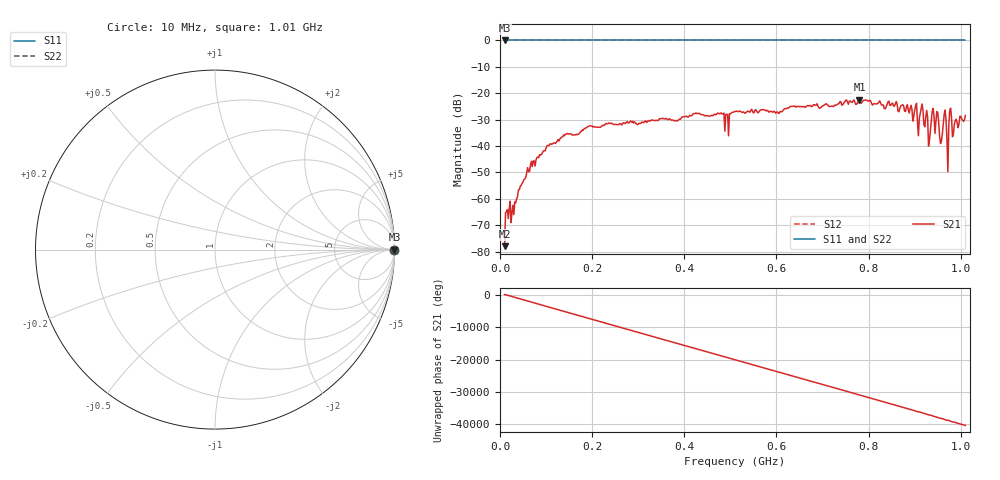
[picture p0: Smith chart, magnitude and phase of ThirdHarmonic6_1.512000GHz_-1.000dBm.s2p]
! 8/16/2025 5:48:57 PM
! C:\ANRITSUVNA\TEMP\TEMP.S2P
! CHANNEL.1
! TR.MEASUREMENT
! RAW.DATA
! RF.CORRECTION.OFF
! AVERAGING.OFF
! IF.BANDWIDTH: 5KHZ
! SWEEPTYPE:  FREQ.SWEEP(Linear)
! Reference Plane Port Info
! PORT:  PORT1  PORT2
! DISTANCE:  0  m  0  m
! TIME:  0  s  0  s
! PHASE.OFFSET:  0  deg.  0  deg.
! LOSS:  0  dB  0  dB
! REF.LOSS:  0  dB  0  dB
! REF.FREQ:  0  Hz  0  Hz
! Power Info
! POWER:  -20  dBm  -20  dBm
! EFF.POWER:  -20  dBm  -20  dBm
! SOURCE.ATTEN:  0  dB  0  dB
! TEST.ATTEN:  0  dB  0  dB
# GHZ S RI R 50.0
! FREQ.GHZ  S11RE  S11IM  S21RE  S21IM  S12RE  S12IM  S22RE  S22IM
!; PortSelection: Port_12
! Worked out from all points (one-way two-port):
!   501 points, 10 MHz to 1.01 GHz, reference 50 ohm
!   highest |S21| = -22.45 dB at 780 MHz (marker M1); lowest = -77.9 dB at 10 MHz (marker M2)
!   lowest |S11| = 0.0 dB at 10 MHz (marker M3)
!   |S11| at or under -10 dB: nowhere
!   |S22| runs from 0.0 to 0.0 dB; largest |S21 - S12| = 1.1
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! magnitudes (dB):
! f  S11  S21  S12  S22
! 10 MHz  0.0  -77.9  0.0  0.0
! 18 MHz  0.0  -67.5  0.0  0.0
! 28 MHz  0.0  -62.5  0.0  0.0
! 70 MHz  0.0  -47.8  0.0  0.0
! 178 MHz  0.0  -34.0  0.0  0.0
! 344 MHz  0.0  -30.2  0.0  0.0
! 476 MHz  0.0  -27.8  0.0  0.0
! 492 MHz  0.0  -28.0  0.0  0.0
! 510 MHz  0.0  -27.0  0.0  0.0
! 678 MHz  0.0  -24.9  0.0  0.0
! 780 MHz  0.0  -22.4  0.0  0.0
! 844 MHz  0.0  -23.0  0.0  0.0
! 910 MHz  0.0  -29.5  0.0  0.0
! 914 MHz  0.0  -26.1  0.0  0.0
! 932 MHz  0.0  -37.9  0.0  0.0
! 944 MHz  0.0  -35.2  0.0  0.0
! 958 MHz  0.0  -38.1  0.0  0.0
! 964 MHz  0.0  -27.9  0.0  0.0
! 972 MHz  0.0  -49.7  0.0  0.0
! 978 MHz  0.0  -25.6  0.0  0.0
! 986 MHz  0.0  -31.8  0.0  0.0
! 1.01 GHz  0.0  -28.4  0.0  0.0
